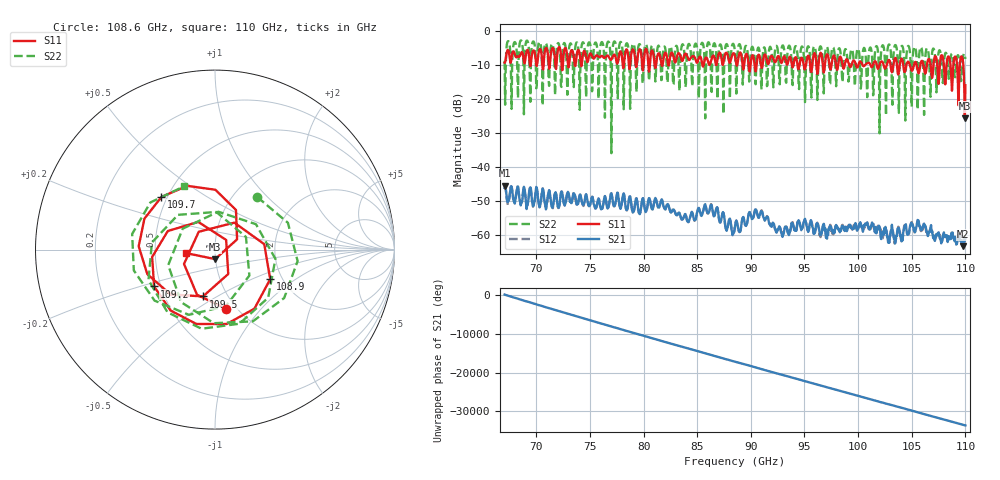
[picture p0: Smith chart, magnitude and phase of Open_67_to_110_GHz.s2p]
#  HZ  S  MA  R  50.00
! Rohde & Schwarz ZVA67 4Ports - Version 4.11 - 1305.7002k04 SN: 101051
! Date: 2023-09-13 16:54:45
! Measurements: S11 S21 S12 S22
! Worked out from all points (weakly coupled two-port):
!   860 points, 67.05 GHz to 110 GHz, reference 50 ohm
!   highest |S21| = -45.33 dB at 67.1 GHz (marker M1); lowest = -63.1 dB at 109.8 GHz (marker M2)
!   lowest |S11| = -25.5 dB at 110 GHz (marker M3), VSWR 1.11, Z = 49.8 - j5.3 ohm
!   |S11| at or under -10 dB: 102.3862 GHz to 102.653 GHz (266.8 MHz wide, 0.26 % of centre); 104.8292 GHz to 105.197 GHz (367.8 MHz wide, 0.35 % of centre); 106.091 GHz to 106.4098 GHz (318.8 MHz wide, 0.3 % of centre) (the widest 3 of 50)
!   |S22| runs from -35.8 to -2.7 dB; largest |S21 - S12| = 0.00071
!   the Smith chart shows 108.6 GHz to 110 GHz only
!   S11 on the Smith chart (normalised r, x): 108.6 GHz: 0.90, -0.67; 108.9 GHz: 1.73, -0.65; 109.2 GHz: 0.46, -0.22; 109.5 GHz: 0.77, -0.43; 109.7 GHz: 0.47, +0.33; 110 GHz: 0.72, -0.03
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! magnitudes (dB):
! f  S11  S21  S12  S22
! 67.05 GHz  -9.2  -46.0  -45.9  -8.6
! 67.1 GHz  -9.1  -45.3  -45.4  -21.5
! 67.4 GHz  -5.6  -49.9  -50.3  -2.9
! 67.7 GHz  -7.6  -45.8  -45.6  -22.8
! 68.55 GHz  -6.7  -51.2  -50.7  -2.7
! 74.25 GHz  -9.6  -50.0  -50.2  -3.8
! 81.4 GHz  -6.5  -51.7  -51.9  -4.2
! 88.55 GHz  -7.7  -56.8  -56.8  -7.6
! 90.45 GHz  -11.8  -52.3  -52.1  -15.5
! 92.9 GHz  -9.1  -59.7  -59.4  -4.5
! 95.7 GHz  -10.7  -57.0  -56.5  -10.7
! 101.7 GHz  -9.4  -59.4  -58.2  -4.3
! 102 GHz  -9.8  -57.5  -57.5  -30.0
! 102.8 GHz  -8.4  -60.4  -61.6  -3.9
! 108.6 GHz  -9.5  -60.8  -60.8  -8.5
! 108.9 GHz  -9.1  -60.9  -60.6  -9.2
! 109.2 GHz  -8.0  -62.7  -61.3  -9.4
! 109.5 GHz  -11.4  -60.9  -60.2  -9.0
! 109.7 GHz  -7.6  -62.9  -63.0  -9.9
! 109.8 GHz  -9.5  -63.1  -62.7  -7.1
! 110 GHz  -25.5  -61.5  -60.3  -7.0
! 110 GHz  -15.9  -60.9  -60.8  -8.1
